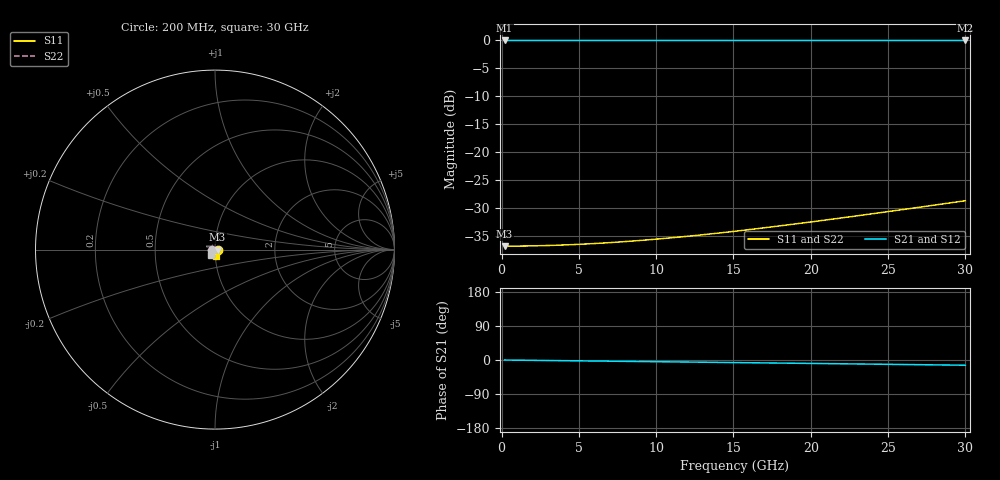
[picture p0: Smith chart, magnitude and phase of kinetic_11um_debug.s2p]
! Touchstone file exported from HFSS 2026.1.0
!  Generated:  11:50:12 AM Aug 24, 2026
!  Design:  HFSSDesign_Kinetic_debug
!  Project:  kinetic_stub_sweep
!  Setup:  Setup1
!  Solution:  Sweep_discrete_debug
! Variables:
!  stub_length = 2.5um
# GHz S MA R 50.000000
! Terminal data exported
! Port[1] = Port1
! Port[2] = Port2
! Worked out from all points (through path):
!   61 points, 200 MHz to 30 GHz, reference 50 ohm
!   highest |S21| = 0.00 dB at 200 MHz (marker M1); lowest = 0.0 dB at 30 GHz (marker M2)
!   group delay of S21, straight-line fit = 1.28 ps
!   lowest |S11| = -36.7 dB at 200 MHz (marker M3), VSWR 1.03, Z = 51.5 - j0.0193 ohm
!   |S11| at or under -10 dB: start of sweep to end of sweep
!   |S22| runs from -36.7 to -28.6 dB; largest |S21 - S12| = 2e-12
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0.2  0.01456 -0.7  0.9999 -0.1  0.9999 -0.1  0.01456 -179.4
! Gamma 0 173.888598857112 0 171.000911418778
! Port Impedance 50 0 50 0
1.193333  0.01459 -4.4  0.9999 -0.5  0.9999 -0.5  0.01459 -176.7
1.69  0.01462 -6.2  0.9999 -0.8  0.9999 -0.8  0.01462 -175.3
2.683333  0.01472 -9.9  0.9999 -1.2  0.9999 -1.2  0.01472 -172.5
3.676667  0.01486 -13.5  0.9999 -1.6  0.9999 -1.6  0.01486 -169.8
4.67  0.01504 -17.0  0.9999 -2.1  0.9999 -2.1  0.01504 -167.1
5.166667  0.01515 -18.8  0.9999 -2.3  0.9999 -2.3  0.01515 -165.8
6.16  0.01541 -22.3  0.9999 -2.7  0.9999 -2.7  0.01541 -163.2
7.65  0.01587 -27.4  0.9999 -3.4  0.9999 -3.4  0.01587 -159.5
9.14  0.01644 -32.3  0.9999 -4.1  0.9999 -4.1  0.01644 -155.9
10.63  0.01711 -37.1  0.9999 -4.8  0.9999 -4.8  0.01711 -152.4
11.62333  0.01762 -40.2  0.9998 -5.2  0.9998 -5.2  0.01762 -150.3
12.61667  0.01817 -43.1  0.9998 -5.7  0.9998 -5.7  0.01817 -148.2
13.61  0.01878 -46.0  0.9998 -6.1  0.9998 -6.1  0.01878 -146.2
15.1  0.01978 -50.2  0.9998 -6.8  0.9998 -6.8  0.01978 -143.4
16.09333  0.02052 -52.8  0.9998 -7.2  0.9998 -7.2  0.02052 -141.6
17.58333  0.02173 -56.6  0.9998 -7.9  0.9998 -7.9  0.02173 -139.2
18.57667  0.0226 -59.1  0.9997 -8.4  0.9997 -8.4  0.0226 -137.7
20.06667  0.02401 -62.6  0.9997 -9.1  0.9997 -9.1  0.02401 -135.6
22.55  0.02665 -68.0  0.9996 -10.2  0.9996 -10.2  0.02665 -132.5
25.53  0.03033 -73.9  0.9995 -11.7  0.9995 -11.7  0.03033 -129.4
30  0.03705 -81.7  0.9993 -13.8  0.9993 -13.8  0.03705 -125.9
